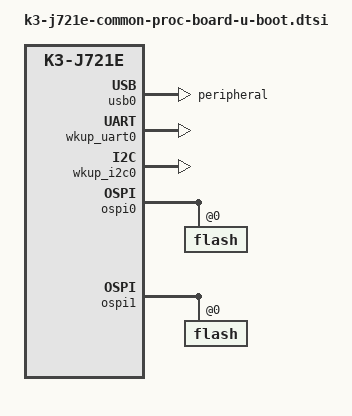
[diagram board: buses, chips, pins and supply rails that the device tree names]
// SPDX-License-Identifier: GPL-2.0
/*
 * Copyright (C) 2018 Texas Instruments Incorporated - https://www.ti.com/
 */

#include "k3-j721e-binman.dtsi"

&cbass_main {
	bootph-all;
};

&main_navss {
	bootph-all;
};

&cbass_mcu_wakeup {
	bootph-all;
};

&chipid {
	bootph-all;
};

&mcu_navss {
	bootph-all;
};

&mcu_ringacc {
	bootph-all;
};

&mcu_udmap {
	bootph-all;
};

&secure_proxy_main {
	bootph-all;
};

&dmsc {
	bootph-all;
};

&k3_pds {
	bootph-all;
};

&k3_clks {
	bootph-all;
};

&k3_reset {
	bootph-all;
};

&wkup_pmx0 {
	bootph-all;
};

&main_pmx0 {
	bootph-all;
};

&main_uart0 {
	bootph-all;
};

&mcu_uart0 {
	bootph-all;
};

&main_sdhci0 {
	bootph-all;
};

&main_sdhci1 {
	bootph-all;
};

&main_uart0_pins_default {
	bootph-all;
};

&serdes_ln_ctrl {
	bootph-all;
};

&usb_serdes_mux {
	bootph-all;
};

&main_usbss0_pins_default {
	bootph-all;
};

&usbss0 {
	bootph-all;
};

&usb0 {
	dr_mode = "peripheral";
	bootph-all;
};

&main_mmc1_pins_default {
	bootph-all;
};

&wkup_i2c0_pins_default {
	bootph-all;
};

&wkup_uart0 {
	bootph-all;
	status = "okay";
};

&wkup_i2c0 {
	bootph-all;
	status = "okay";
};

&main_i2c0 {
	bootph-all;
};

&main_i2c0_pins_default {
	bootph-all;
};

&main_esm {
	bootph-all;
};

&exp2 {
	bootph-all;
};

&mcu_fss0_ospi0_pins_default {
	bootph-all;
};

&fss {
	bootph-all;
};

&wkup_gpio0 {
	bootph-all;
};

&ospi0 {
	bootph-all;

	flash@0 {
		bootph-all;
	};
};

&ospi1 {
	bootph-all;

	flash@0 {
		bootph-all;
	};
};

&mcu_fss0_hpb0_pins_default {
	bootph-all;
};

&wkup_gpio_pins_default {
	bootph-all;
};

&mcu_fss0_ospi1_pins_default {
	bootph-all;
};
